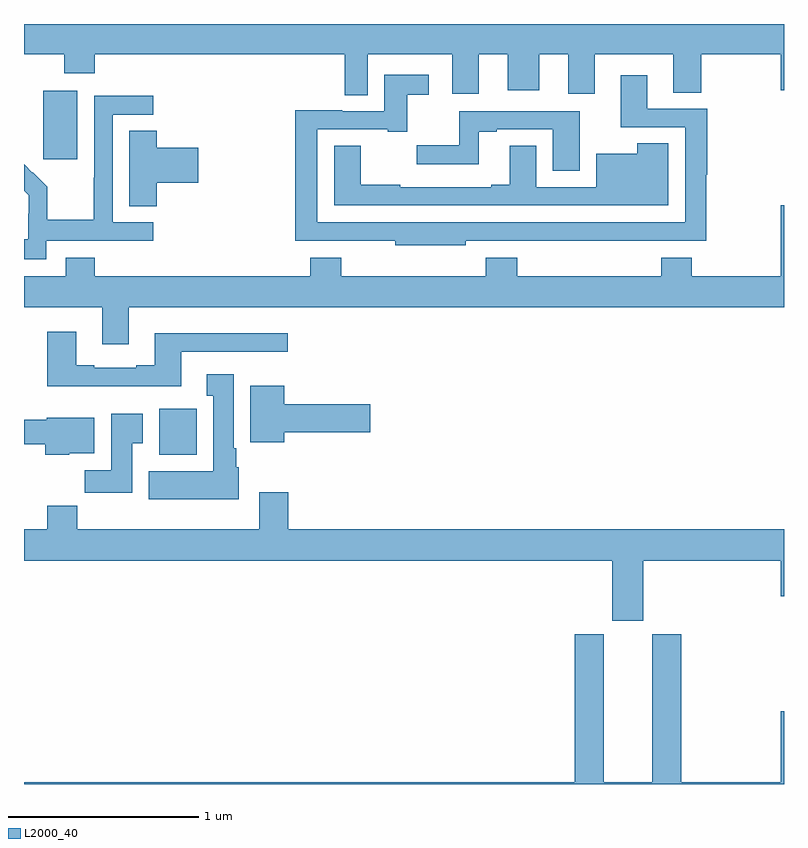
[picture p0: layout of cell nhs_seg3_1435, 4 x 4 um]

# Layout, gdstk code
import gdstk
lib = gdstk.Library(unit=1e-6, precision=1e-09)
def R(c, l, rs):  # rectangles x0, y0, x1, y1
    for r in rs: c.add(gdstk.rectangle(r[:2], r[2:], *l))
def P(c, l, *ps):  # polygons
    for p in ps: c.add(gdstk.Polygon(p, *l))
L2000_40 = (2000, 40)

nhs_seg3_1435 = lib.new_cell('nhs_seg3_1435')
R(nhs_seg3_1435, L2000_40, [(185.711,708.134,185.908,708.376), (185.102,709.689,185.281,710.05)])
P(nhs_seg3_1435, L2000_40, [(186.808,710.24),(187.253,710.24),(187.253,710.034),(187.393,710.034),(187.393,710.24),(187.547,710.24),(187.547,710.052),(187.711,710.052),(187.711,710.24),(187.865,710.24),(187.865,710.034),(188.005,710.034),(188.005,710.24),(188.417,710.24),(188.417,710.038),(188.565,710.038),(188.565,710.24),(188.984,710.24),(188.984,710.052),(189,710.052),(189,710.4),(185,710.4),(185,710.24),(185.212,710.24),(185.212,710.141),(185.372,710.141),(185.372,710.24),(186.687,710.24),(186.687,710.026),(186.808,710.026)],
  [(187.326,709.26),(187.678,709.26),(187.678,709.259),(188.27,709.259),(188.27,709.26),(188.59,709.26),(188.59,709.607),(188.597,709.607),(188.597,709.953),(188.281,709.953),(188.281,710.131),(188.141,710.131),(188.141,709.857),(188.481,709.857),(188.481,709.356),(186.543,709.356),(186.543,709.845),(186.914,709.845),(186.914,709.833),(187.018,709.833),(187.018,710.028),(187.129,710.028),(187.129,710.134),(186.896,710.134),(186.896,709.941),(186.675,709.941),(186.675,709.946),(186.427,709.946),(186.427,709.26),(186.754,709.26),(186.754,709.259),(186.954,709.259),(186.954,709.235),(187.326,709.235)],
  [(185.118,709.26),(185.68,709.26),(185.68,709.356),(185.466,709.356),(185.466,709.923),(185.68,709.923),(185.68,710.022),(185.37,710.022),(185.37,709.592),(185.368,709.592),(185.368,709.369),(185.123,709.369),(185.123,709.543),(185.046,709.62),(185.043,709.617),(185,709.661),(185,709.522),(185.024,709.498),(185.024,709.401),(185.022,709.401),(185.022,709.267),(185,709.267),(185,709.163),(185.118,709.163)],
  [(187.924,709.941),(187.291,709.941),(187.291,709.763),(187.068,709.763),(187.068,709.662),(187.393,709.662),(187.393,709.833),(187.489,709.833),(187.489,709.845),(187.784,709.845),(187.784,709.627),(187.924,709.627)],
  [(185.699,709.565),(185.917,709.565),(185.917,709.748),(185.699,709.748),(185.699,709.838),(185.555,709.838),(185.555,709.441),(185.699,709.441)],
  [(188.392,709.772),(188.228,709.772),(188.228,709.717),(188.012,709.717),(188.012,709.542),(187.696,709.542),(187.696,709.76),(187.556,709.76),(187.556,709.555),(187.46,709.555),(187.46,709.542),(186.98,709.542),(186.98,709.555),(186.772,709.555),(186.772,709.76),(186.632,709.76),(186.632,709.446),(188.116,709.446),(188.116,709.445),(188.392,709.445)],
  [(185.551,708.908),(189,708.908),(189,709.447),(188.984,709.447),(188.984,709.072),(188.514,709.072),(188.514,709.171),(188.354,709.171),(188.354,709.072),(187.595,709.072),(187.595,709.171),(187.43,709.171),(187.43,709.072),(186.671,709.072),(186.671,709.171),(186.506,709.171),(186.506,709.072),(185.372,709.072),(185.372,709.171),(185.219,709.171),(185.219,709.072),(185,709.072),(185,708.908),(185.411,708.908),(185.411,708.714),(185.551,708.714)],
  [(185.827,708.675),(186.388,708.675),(186.388,708.772),(185.687,708.772),(185.687,708.604),(185.591,708.604),(185.591,708.591),(185.371,708.591),(185.371,708.604),(185.275,708.604),(185.275,708.781),(185.123,708.781),(185.123,708.494),(185.827,708.494)],
  [(186.13,708.066),(186.118,708.066),(186.118,708.166),(186.103,708.166),(186.103,708.556),(185.963,708.556),(185.963,708.443),(185.996,708.443),(185.996,708.046),(185.657,708.046),(185.657,707.9),(186.13,707.9)],
  [(186.37,708.251),(186.823,708.251),(186.823,708.398),(186.37,708.398),(186.37,708.496),(186.191,708.496),(186.191,708.2),(186.37,708.2)],
  [(185.569,708.193),(185.626,708.193),(185.626,708.349),(185.459,708.349),(185.459,708.052),(185.32,708.052),(185.32,707.934),(185.569,707.934)],
  [(185.238,708.14),(185.371,708.14),(185.371,708.328),(185.12,708.328),(185.12,708.317),(185,708.317),(185,708.189),(185.113,708.189),(185.113,708.134),(185.238,708.134)],
  [(188.26,707.576),(188.984,707.576),(188.984,707.388),(189,707.388),(189,707.74),(186.392,707.74),(186.392,707.935),(186.239,707.935),(186.239,707.74),(185.279,707.74),(185.279,707.864),(185.123,707.864),(185.123,707.74),(185,707.74),(185,707.576),(188.096,707.576),(188.096,707.259),(188.26,707.259)],
  [(189,706.783),(188.984,706.783),(188.984,706.408),(188.459,706.408),(188.459,707.187),(188.306,707.187),(188.306,706.408),(188.05,706.408),(188.05,707.187),(187.898,707.187),(187.898,706.408),(185,706.408),(185,706.4),(189,706.4)])

lib.write_gds('nhs_seg3_1435.gds')
